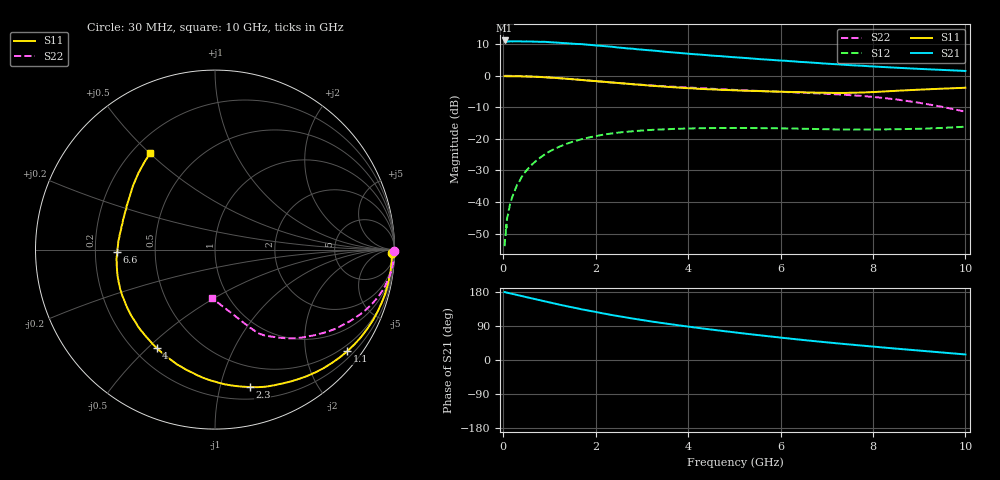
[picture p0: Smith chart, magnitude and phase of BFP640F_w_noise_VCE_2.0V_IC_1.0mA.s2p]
! Infineon Technologies  Discrete & RF Semiconductors
! BFP640F
! VCE =  2.0 V,  IC =  1.0 mA
! Common Emitter S-Parameters:  Apr 2013
# GHz  S  MA  R  50
!  f  S11  S21  S12  S22
! GHz  MAG  ANG  MAG  ANG  MAG  ANG  MAG  ANG
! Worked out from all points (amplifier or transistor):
!   99 points, 30 MHz to 10 GHz, reference 50 ohm
!   highest |S21| = 11.2 dB at 30 MHz (marker M1)
!   |S21| within 3 dB of that: start of sweep to 3.067 GHz
!   unconditionally stable (mu >= 1): 6.463 GHz to end of sweep
!   at 350 MHz: K = -0.01, MSG = 22.2 dB, |S12| = -33.4 dB
!   at 3.5 GHz: K = 0.52, MSG = 12.3 dB, |S12| = -16.9 dB
!   at 10 GHz: K = 1.36, MAG = 5.2 dB, |S12| = -16.1 dB
!   lowest NFmin = 0.52 dB at 450 MHz
!   S11 on the Smith chart (normalised r, x): 30 MHz: 55, -74; 1.1 GHz: 0.35, -2.90; 2.3 GHz: 0.30, -1.24; 4 GHz: 0.29, -0.53; 6.6 GHz: 0.29, -0.01; 10 GHz: 0.27, +0.50
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0.03  0.9872 -1.0  3.632 179.2  0.002 69.8  0.9996 -0.5
0.04  0.9876 -1.4  3.446 178.9  0.0026 81.8  0.9995 -0.7
0.05  0.9879 -1.7  3.487 178.8  0.0027 63.7  1 -0.9
0.06  0.9856 -2.0  3.463 178.2  0.0043 81.4  0.9992 -1.1
0.07  0.9865 -2.4  3.478 178.0  0.0039 88.1  0.9992 -1.2
0.08  0.9857 -2.7  3.458 177.7  0.0053 87.6  0.9999 -1.4
0.12  0.9861 -4.1  3.514 176.6  0.0075 85.5  0.9988 -2.2
0.3  0.9832 -10.2  3.514 171.6  0.0188 85.1  0.9936 -5.3
0.6  0.9705 -20.5  3.488 163.1  0.0381 80.0  0.9761 -10.4
0.9  0.9486 -30.9  3.458 154.8  0.0569 73.3  0.9507 -15.4
1.1  0.9294 -37.6  3.38 149.3  0.0689 68.6  0.9297 -18.5
1.7  0.8578 -57.3  3.178 133.7  0.0991 55.9  0.859 -27.0
2.3  0.7896 -75.9  2.909 119.8  0.1208 44.7  0.7888 -34.7
2.8  0.7357 -90.0  2.686 109.4  0.1324 37.3  0.7383 -39.9
3.4  0.6801 -105.8  2.451 98.2  0.1412 30.0  0.6899 -45.2
4  0.6369 -120.7  2.241 88.2  0.1464 24.2  0.6529 -49.2
5.1  0.5859 -146.9  1.946 71.5  0.1491 16.2  0.5945 -55.2
5.8  0.5656 -161.9  1.789 61.8  0.1477 12.7  0.565 -58.5
6.6  0.5448 -178.4  1.635 51.4  0.1445 10.2  0.5344 -61.8
6.7  0.543 179.5  1.614 50.2  0.144 10.1  0.5305 -62.1
8.5  0.5786 142.3  1.344 30.0  0.1424 12.0  0.4233 -69.8
10  0.6471 124.0  1.194 14.7  0.1563 15.1  0.2703 -93.7
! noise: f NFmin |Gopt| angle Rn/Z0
0.45  0.52  0.75  11  0.34
0.9  0.69  0.71  23  0.33
1.5  0.87  0.7  32  0.32
1.9  0.98  0.65  47  0.31
2.4  1.13  0.64  66  0.3
3.5  1.33  0.56  84  0.28
5.5  1.77  0.48  144  0.26
10  2.96  0.61  -113  0.48
